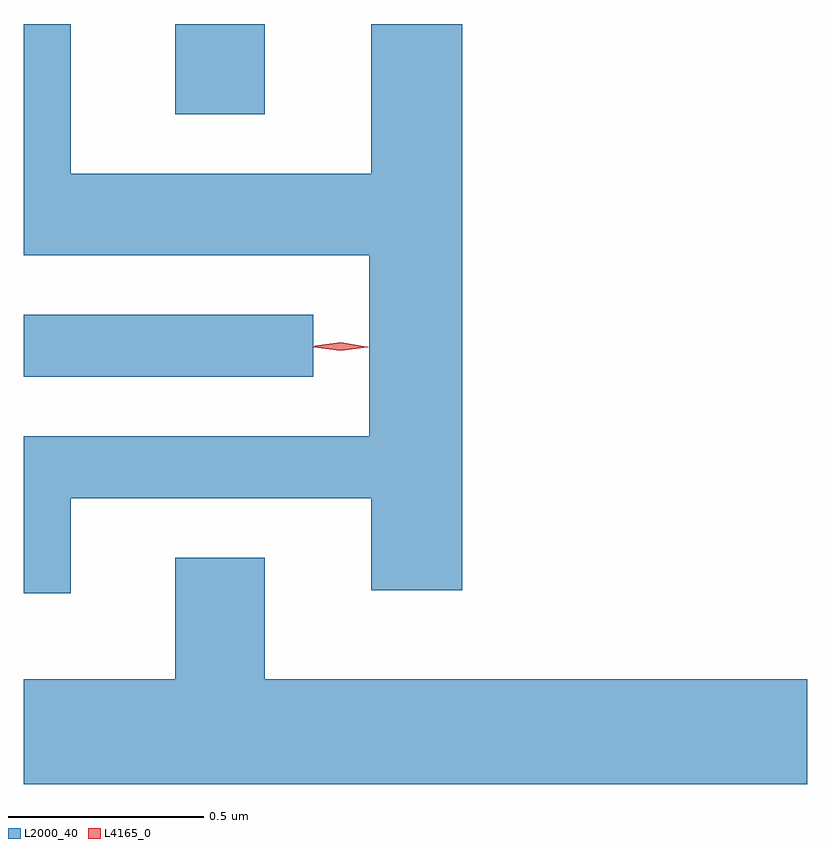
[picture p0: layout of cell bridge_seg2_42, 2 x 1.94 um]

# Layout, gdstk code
import gdstk
lib = gdstk.Library(unit=1e-6, precision=1e-09)
def R(c, l, rs):  # rectangles x0, y0, x1, y1
    for r in rs: c.add(gdstk.rectangle(r[:2], r[2:], *l))
def P(c, l, *ps):  # polygons
    for p in ps: c.add(gdstk.Polygon(p, *l))
L2000_40 = (2000, 40)
L4165_0 = (4165, 0)

bridge_seg2_42 = lib.new_cell('bridge_seg2_42')
R(bridge_seg2_42, L2000_40, [(1280.714,1029.376,1281.453,1029.534), (1281.101,1030.046,1281.329,1030.277)])
P(bridge_seg2_42, L2000_40, [(1280.834,1029.066),(1281.601,1029.066),(1281.601,1028.831),(1281.834,1028.831),(1281.834,1030.277),(1281.601,1030.277),(1281.601,1029.894),(1280.834,1029.894),(1280.834,1030.277),(1280.714,1030.277),(1280.714,1029.686),(1281.596,1029.686),(1281.596,1029.224),(1280.714,1029.224),(1280.714,1028.823),(1280.834,1028.823)],
  [(1282.714,1028.604),(1281.329,1028.604),(1281.329,1028.914),(1281.101,1028.914),(1281.101,1028.604),(1280.714,1028.604),(1280.714,1028.336),(1282.714,1028.336)])
P(bridge_seg2_42, L4165_0, [(1281.523,1029.442),(1281.454,1029.452),(1281.454,1029.452),(1281.454,1029.453),(1281.523,1029.462),(1281.592,1029.453),(1281.593,1029.452),(1281.592,1029.452)],
  [(1281.523,1029.444),(1281.457,1029.454),(1281.457,1029.455),(1281.457,1029.455),(1281.523,1029.464),(1281.589,1029.453),(1281.59,1029.452),(1281.589,1029.452)])

lib.write_gds('bridge_seg2_42.gds')
